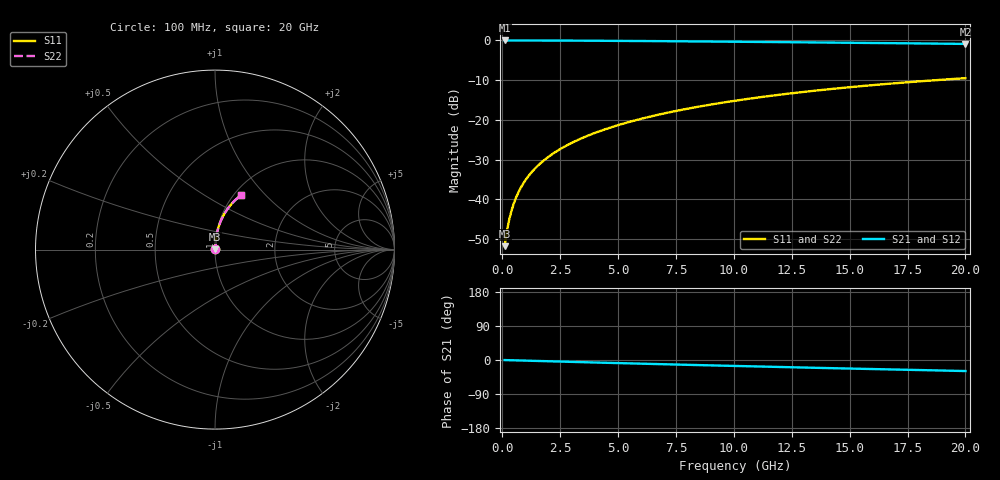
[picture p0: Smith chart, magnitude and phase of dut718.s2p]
! Touchstone file exported from HFSS 2024.1.0
!  File:  C:/UserFiles/LocalFiles/RDL_TSV_Batchsim/temp_RDL_top_718_1779850488.aedt
!  Generated:  10:57:48 AM May 27, 2026
!  Design:  RDL_top
!  Project:  temp_RDL_top_718_1779850488
!  Setup:  Setup1
!  Solution:  Sweep
! Variables:
!  dtsv = 10.80580581um
!  hbump = 3um
!  htsv = 65.08um
!  ldown = 100um
!  lrdl = 359.46um
!  p = 40
!  p1 = 53.32um
!  rhole = 1um
!  t = 450um
!  tdown = 3.915915916um
!  trdl = 4.59um
!  wdown = 15.38538539um
!  wrdl = 16.01um
# GHz S MA R 50.000000
! Terminal data exported
! Port[1] = Box2_T1
! Port[2] = Box2_T2
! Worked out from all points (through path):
!   200 points, 100 MHz to 20 GHz, reference 50 ohm
!   highest |S21| = -0.02 dB at 100 MHz (marker M1); lowest = -0.9 dB at 20 GHz (marker M2)
!   group delay of S21, straight-line fit = 4.02 ps
!   lowest |S11| = -51.8 dB at 100 MHz (marker M3), VSWR 1.01, Z = 50.2 + j0.179 ohm
!   |S11| at or under -10 dB: start of sweep to 18.74 GHz
!   |S22| runs from -51.8 to -9.5 dB; largest |S21 - S12| = 3.4e-15
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0.1  0.002573 43.9  0.9981 -0.2  0.9981 -0.2  0.002573 43.9
! Gamma 0 0 0 0
! Port Impedance 50 0 50 0
0.2  0.003986 62.6  0.9981 -0.3  0.9981 -0.3  0.003985 62.6
0.3  0.005581 70.8  0.998 -0.5  0.998 -0.5  0.00558 70.8
0.4  0.007237 75.1  0.9979 -0.7  0.9979 -0.7  0.007235 75.1
0.5  0.008918 77.8  0.9978 -0.9  0.9978 -0.9  0.008916 77.7
0.6  0.01061 79.5  0.9977 -1.0  0.9977 -1.0  0.01061 79.5
0.8  0.01401 81.5  0.9975 -1.4  0.9975 -1.4  0.01401 81.5
1.1  0.01912 83.0  0.9972 -1.9  0.9972 -1.9  0.01911 83.0
1.5  0.02591 84.0  0.9966 -2.5  0.9966 -2.5  0.02591 84.0
1.8  0.03099 84.3  0.9961 -3.0  0.9961 -3.0  0.03099 84.3
2.1  0.03608 84.5  0.9955 -3.5  0.9955 -3.5  0.03608 84.5
2.7  0.04627 84.6  0.9941 -4.5  0.9941 -4.5  0.04626 84.6
3.5  0.05992 84.4  0.9917 -5.8  0.9917 -5.8  0.05992 84.3
4.2  0.07195 84.0  0.9893 -6.9  0.9893 -6.9  0.07194 84.0
5  0.08578 83.4  0.9863 -8.2  0.9863 -8.2  0.08578 83.4
5.9  0.1014 82.6  0.9825 -9.6  0.9825 -9.6  0.1014 82.6
6.8  0.1172 81.7  0.9784 -11.0  0.9784 -11.0  0.1172 81.6
8.4  0.1452 79.8  0.9706 -13.3  0.9706 -13.3  0.1452 79.8
10.1  0.1749 77.7  0.9618 -15.8  0.9618 -15.8  0.1749 77.7
13.4  0.2313 73.3  0.9435 -20.4  0.9435 -20.4  0.2312 73.3
16.7  0.2849 68.9  0.9238 -24.9  0.9238 -24.9  0.2848 68.9
20  0.3348 64.5  0.9031 -29.1  0.9031 -29.1  0.3347 64.5
